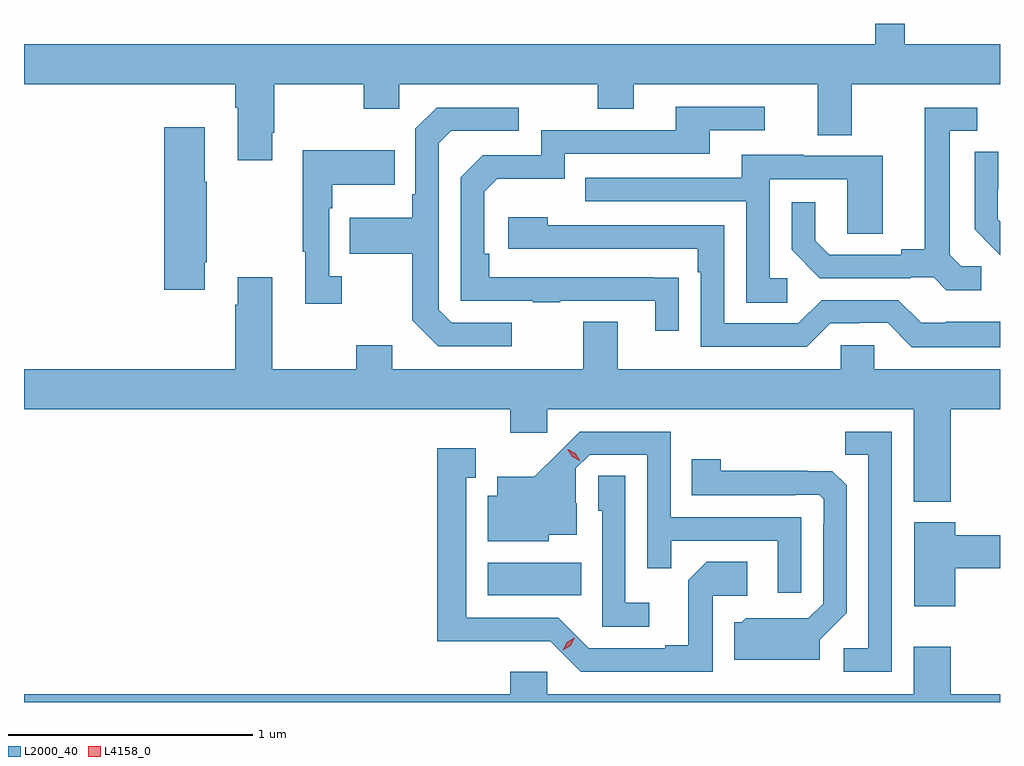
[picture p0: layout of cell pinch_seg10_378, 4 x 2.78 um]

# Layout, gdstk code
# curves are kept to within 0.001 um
import gdstk
lib = gdstk.Library(unit=1e-6, precision=1e-09)
def R(c, l, rs):  # rectangles x0, y0, x1, y1
    for r in rs: c.add(gdstk.rectangle(r[:2], r[2:], *l))
def P(c, l, *ps):  # polygons
    for p in ps: c.add(gdstk.Polygon(p, *l))
L2000_40 = (2000, 40)
L4158_0 = (4158, 0)

pinch_seg10_378 = lib.new_cell('pinch_seg10_378')
R(pinch_seg10_378, L2000_40, [(616.67,1248.938,617.054,1249.072)])
P(pinch_seg10_378, L2000_40, [(615.787,1250.833),(615.795,1250.833),(615.795,1251.032),(616.162,1251.032),(616.162,1250.933),(616.308,1250.933),(616.308,1251.032),(617.122,1251.032),(617.122,1250.933),(617.269,1250.933),(617.269,1251.032),(618.023,1251.032),(618.023,1250.824),(618.163,1250.824),(618.163,1251.032),(618.77,1251.032),(618.77,1251.196),(618.379,1251.196),(618.379,1251.28),(618.258,1251.28),(618.258,1251.196),(614.77,1251.196),(614.77,1251.032),(615.635,1251.032),(615.635,1250.936),(615.647,1250.936),(615.647,1250.721),(615.787,1250.721)],
  [(617.453,1250.24),(616.676,1250.241),(616.676,1250.338),(616.656,1250.338),(616.656,1250.592),(616.709,1250.645),(616.986,1250.645),(616.986,1250.748),(617.581,1250.748),(617.581,1250.844),(617.806,1250.844),(617.806,1250.94),(617.441,1250.94),(617.441,1250.844),(616.89,1250.844),(616.89,1250.742),(616.65,1250.742),(616.56,1250.652),(616.56,1250.145),(616.855,1250.145),(616.855,1250.14),(616.967,1250.14),(616.967,1250.145),(617.357,1250.145),(617.357,1250.022),(617.453,1250.022)],
  [(618.694,1250.286),(618.612,1250.286),(618.565,1250.333),(618.565,1250.841),(618.676,1250.841),(618.676,1250.937),(618.461,1250.937),(618.461,1250.357),(618.365,1250.357),(618.365,1250.334),(618.07,1250.334),(618.013,1250.391),(618.013,1250.548),(617.916,1250.548),(617.916,1250.354),(618.032,1250.238),(618.404,1250.238),(618.404,1250.241),(618.498,1250.241),(618.55,1250.189),(618.694,1250.189)],
  [(616.768,1250.055),(616.524,1250.055),(616.47,1250.109),(616.47,1250.79),(616.521,1250.841),(616.798,1250.841),(616.798,1250.937),(616.461,1250.937),(616.374,1250.85),(616.374,1250.581),(616.362,1250.581),(616.362,1250.485),(616.105,1250.485),(616.105,1250.338),(616.362,1250.338),(616.362,1250.065),(616.467,1249.959),(616.768,1249.959)],
  [(615.511,1250.302),(615.519,1250.302),(615.519,1250.633),(615.511,1250.633),(615.511,1250.857),(615.344,1250.857),(615.344,1250.19),(615.511,1250.19)],
  [(616.072,1250.246),(616.02,1250.246),(616.02,1250.525),(616.033,1250.525),(616.033,1250.621),(616.289,1250.621),(616.289,1250.761),(615.912,1250.761),(615.912,1250.345),(615.923,1250.345),(615.923,1250.133),(616.072,1250.133)],
  [(618.77,1250.471),(618.761,1250.48),(618.761,1250.602),(618.762,1250.602),(618.762,1250.756),(618.666,1250.756),(618.666,1250.438),(618.739,1250.365),(618.738,1250.364),(618.77,1250.332)],
  [(617.899,1250.238),(617.826,1250.238),(617.826,1250.643),(618.144,1250.643),(618.144,1250.419),(618.289,1250.419),(618.289,1250.739),(617.965,1250.739),(617.965,1250.743),(617.711,1250.743),(617.711,1250.649),(617.071,1250.649),(617.071,1250.553),(617.73,1250.553),(617.73,1250.137),(617.899,1250.137)],
  [(618.77,1250.059),(618.547,1250.059),(618.547,1250.055),(618.447,1250.055),(618.354,1250.148),(618.039,1250.148),(617.943,1250.052),(617.64,1250.052),(617.64,1250.454),(616.916,1250.454),(616.916,1250.488),(616.755,1250.488),(616.755,1250.358),(617.531,1250.358),(617.531,1250.261),(617.544,1250.261),(617.544,1249.956),(617.979,1249.956),(618.075,1250.052),(618.194,1250.052),(618.194,1250.055),(618.309,1250.055),(618.409,1249.955),(618.77,1249.955)],
  [(618.569,1249.7),(618.77,1249.7),(618.77,1249.864),(618.255,1249.864),(618.255,1249.962),(618.117,1249.962),(618.117,1249.864),(617.203,1249.864),(617.203,1250.059),(617.063,1250.059),(617.063,1249.864),(616.279,1249.864),(616.279,1249.963),(616.132,1249.963),(616.132,1249.864),(615.787,1249.864),(615.787,1250.242),(615.647,1250.242),(615.647,1250.129),(615.635,1250.129),(615.635,1249.864),(614.77,1249.864),(614.77,1249.7),(616.763,1249.7),(616.763,1249.605),(616.914,1249.605),(616.914,1249.7),(618.416,1249.7),(618.416,1249.322),(618.569,1249.322)],
  [(617.955,1249.257),(617.421,1249.257),(617.421,1249.608),(617.048,1249.608),(616.861,1249.423),(616.709,1249.423),(616.709,1249.345),(616.67,1249.345),(616.67,1249.16),(616.92,1249.16),(616.92,1249.187),(617.035,1249.187),(617.035,1249.316),(617.031,1249.316),(617.031,1249.458),(617.088,1249.515),(617.325,1249.515),(617.325,1249.048),(617.423,1249.048),(617.423,1249.161),(617.859,1249.161),(617.859,1248.948),(617.955,1248.948)],
  [(618.327,1249.608),(618.136,1249.608),(618.136,1249.513),(618.231,1249.513),(618.231,1248.72),(618.129,1248.72),(618.129,1248.624),(618.327,1248.624)],
  [(617.592,1248.936),(617.734,1248.936),(617.734,1249.076),(617.569,1249.076),(617.493,1249),(617.493,1248.733),(617.399,1248.733),(617.399,1248.72),(617.085,1248.72),(616.959,1248.846),(616.582,1248.846),(616.582,1249.419),(616.621,1249.419),(616.621,1249.54),(616.464,1249.54),(616.464,1248.749),(616.926,1248.75),(617.052,1248.624),(617.592,1248.624)],
  [(618.031,1248.756),(618.141,1248.866),(618.141,1249.388),(618.082,1249.447),(617.625,1249.448),(617.625,1249.495),(617.506,1249.495),(617.506,1249.347),(617.93,1249.347),(617.93,1249.35),(618.03,1249.35),(618.048,1249.332),(618.048,1249.232),(618.045,1249.232),(618.045,1248.903),(617.985,1248.843),(617.728,1248.844),(617.712,1248.828),(617.681,1248.828),(617.681,1248.674),(618.031,1248.674)],
  [(617.332,1248.907),(617.235,1248.907),(617.235,1249.427),(617.124,1249.427),(617.124,1249.284),(617.139,1249.284),(617.139,1248.81),(617.332,1248.81)],
  [(618.586,1249.048),(618.77,1249.048),(618.77,1249.184),(618.586,1249.184),(618.586,1249.237),(618.419,1249.237),(618.419,1248.894),(618.586,1248.894)],
  [(618.77,1248.532),(618.569,1248.532),(618.569,1248.727),(618.416,1248.727),(618.416,1248.532),(616.914,1248.532),(616.914,1248.625),(616.763,1248.625),(616.763,1248.532),(614.77,1248.532),(614.77,1248.5),(618.77,1248.5)])
P(pinch_seg10_378, L4158_0, [(617.047,1249.49),(617.016,1249.506),(616.999,1249.535),(616.999,1249.536),(616.999,1249.536),(617.03,1249.52),(617.047,1249.491),(617.047,1249.49)],
  [(616.978,1248.712),(616.978,1248.713),(616.995,1248.745),(617.027,1248.764),(617.027,1248.764),(617.027,1248.764),(617.01,1248.731),(616.978,1248.712)])

lib.write_gds('pinch_seg10_378.gds')
